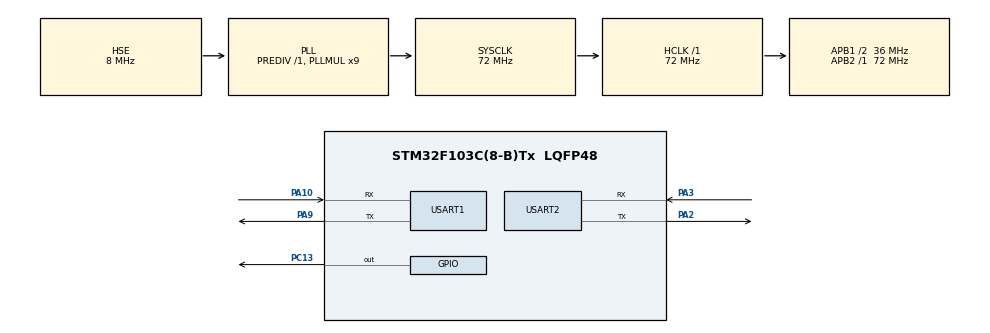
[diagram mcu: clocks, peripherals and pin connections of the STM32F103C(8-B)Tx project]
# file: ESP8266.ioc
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Dma.Request0=USART1_RX
Dma.Request1=USART1_TX
Dma.USART1_RX.0.Direction=DMA_PERIPH_TO_MEMORY
Dma.USART1_RX.0.Instance=DMA1_Channel5
Dma.USART1_RX.0.MemDataAlignment=DMA_MDATAALIGN_BYTE
Dma.USART1_RX.0.MemInc=DMA_MINC_ENABLE
Dma.USART1_RX.0.Mode=DMA_CIRCULAR
Dma.USART1_RX.0.PeriphDataAlignment=DMA_PDATAALIGN_BYTE
Dma.USART1_RX.0.PeriphInc=DMA_PINC_DISABLE
Dma.USART1_RX.0.Priority=DMA_PRIORITY_LOW
Dma.USART1_TX.1.Direction=DMA_MEMORY_TO_PERIPH
Dma.USART1_TX.1.Instance=DMA1_Channel4
Dma.USART1_TX.1.MemDataAlignment=DMA_MDATAALIGN_BYTE
Dma.USART1_TX.1.MemInc=DMA_MINC_ENABLE
Dma.USART1_TX.1.Mode=DMA_NORMAL
Dma.USART1_TX.1.PeriphDataAlignment=DMA_PDATAALIGN_BYTE
Dma.USART1_TX.1.PeriphInc=DMA_PINC_DISABLE
Dma.USART1_TX.1.Priority=DMA_PRIORITY_LOW
Mcu.Family=STM32F1
Mcu.Name=STM32F103C(8-B)Tx
Mcu.Package=LQFP48
NVIC.DMA1_Channel4_IRQn=true\:0\:0\:false\:false\:true\:false\:true\:true
NVIC.DMA1_Channel5_IRQn=true\:0\:0\:false\:false\:true\:false\:true\:true
NVIC.PriorityGroup=NVIC_PRIORITYGROUP_4
NVIC.USART1_IRQn=true\:0\:0\:false\:false\:true\:false\:true\:true
NVIC.USART2_IRQn=true\:0\:0\:false\:false\:true\:true\:true\:true
PA10.Mode=Asynchronous
PA10.Signal=USART1_RX
PA13.Mode=Serial_Wire
PA13.Signal=SYS_JTMS-SWDIO
PA14.Mode=Serial_Wire
PA14.Signal=SYS_JTCK-SWCLK
PA2.Mode=Asynchronous
PA2.Signal=USART2_TX
PA3.Mode=Asynchronous
PA3.Signal=USART2_RX
PA9.Mode=Asynchronous
PA9.Signal=USART1_TX
PC13-TAMPER-RTC.Signal=GPIO_Output
PC14-OSC32_IN.Mode=LSE-External-Oscillator
PC14-OSC32_IN.Signal=RCC_OSC32_IN
PC15-OSC32_OUT.Mode=LSE-External-Oscillator
PC15-OSC32_OUT.Signal=RCC_OSC32_OUT
PD0-OSC_IN.Mode=HSE-External-Oscillator
PD0-OSC_IN.Signal=RCC_OSC_IN
PD1-OSC_OUT.Mode=HSE-External-Oscillator
PD1-OSC_OUT.Signal=RCC_OSC_OUT
ProjectManager.HeapSize=0x200
ProjectManager.StackSize=0x400
ProjectManager.TargetToolchain=MDK-ARM V5.32
RCC.AHBFreq_Value=72000000
RCC.APB1CLKDivider=RCC_HCLK_DIV2
RCC.APB1Freq_Value=36000000
RCC.APB1TimFreq_Value=72000000
RCC.APB2Freq_Value=72000000
RCC.APB2TimFreq_Value=72000000
RCC.HCLKFreq_Value=72000000
RCC.PLLMUL=RCC_PLL_MUL9
RCC.PLLSourceVirtual=RCC_PLLSOURCE_HSE
RCC.SYSCLKFreq_VALUE=72000000
RCC.SYSCLKSource=RCC_SYSCLKSOURCE_PLLCLK
RCC.USBFreq_Value=72000000
USART1.VirtualMode=VM_ASYNC
USART2.VirtualMode=VM_ASYNC
board=custom

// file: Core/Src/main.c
/* USER CODE BEGIN Header */
/**
  ******************************************************************************
  * @file           : main.c
  * @brief          : Main program body
  ******************************************************************************
  * @attention
  *
  * Copyright (c) 2025 STMicroelectronics.
  * All rights reserved.
  *
  * This software is licensed under terms that can be found in the LICENSE file
  * in the root directory of this software component.
  * If no LICENSE file comes with this software, it is provided AS-IS.
  *
  ******************************************************************************
  */
/* USER CODE END Header */
#include "main.h"
#include "dma.h"
#include "usart.h"
#include "gpio.h"

/* USER CODE BEGIN Includes */

#include "string.h"
#define BUFFER_LEN 512

uint8_t tx_buffer[BUFFER_LEN]; // 发送缓冲区
uint8_t rx_buffer[BUFFER_LEN]; // 接收缓冲区
uint32_t head = 0; 							// 头部位置
uint32_t datalen = 0;						 // 传输的数据长度
uint32_t all_datalen = 0;				 // 总的数据长度
uint8_t complete_flag = 0;			 // 结束标志
uint8_t wifi_flag = 0;           //wifi是否连接的标志

/* USER CODE END Includes */

void SystemClock_Config(void);

/* USER CODE BEGIN 0 */

int Str_Jud(char* expect_str){//判断是否返回了预期的字符串
	while(complete_flag == 0){HAL_Delay(100);}
	complete_flag = 0;
	HAL_UART_Transmit(&huart2, tx_buffer, datalen, 100); //发送收到的数据
	__HAL_DMA_ENABLE(huart1.hdmarx);
	if(strstr((char*)tx_buffer, expect_str) != NULL){
		return 1;
	}
	else{
		return 0;
	}
}

void WIFI_Init(){
	HAL_UART_Transmit(&huart1,(uint8_t*)"AT+CWJAP=\"ciallo\",\"0d000721\"\r\n",30,200); // 连接WIFI
	while(!Str_Jud("OK")){HAL_Delay(10);}
}

void DATA_Process(){
	char* ipd_ptr = strstr((char*)tx_buffer, "+IPD");
	if(ipd_ptr != NULL){
		 char* data_start = strchr(ipd_ptr, ':');
		data_start ++;
		if(strstr(data_start, "LED_ON") != NULL){
			HAL_GPIO_WritePin(GPIOC, GPIO_PIN_13, GPIO_PIN_RESET);
		}
		else if(strstr(data_start, "LED_OFF") != NULL){
			HAL_GPIO_WritePin(GPIOC, GPIO_PIN_13, GPIO_PIN_SET);
		}
	}
}

void ESP_Init(){

	HAL_UART_Transmit(&huart1,(uint8_t*)"AT+CWMODE=1\r\n",13,100); // 设置模式
	while(complete_flag == 0){HAL_Delay(100);}
	complete_flag = 0;
	HAL_UART_Transmit(&huart2, tx_buffer, datalen,100); //发送收到的数据
	__HAL_DMA_ENABLE(huart1.hdmarx);
	HAL_UART_Transmit(&huart1,(uint8_t*)"AT+CIPMUX=1\r\n",13,100); // 设置多连接
	while(complete_flag == 0){HAL_Delay(100);}
	complete_flag = 0;
	HAL_UART_Transmit(&huart2, tx_buffer, datalen,100); //发送收到的数据
	__HAL_DMA_ENABLE(huart1.hdmarx);
	WIFI_Init();
	HAL_UART_Transmit(&huart1,(uint8_t*)"AT+CIPSERVER=1,8080\r\n",21,200);
	while(!Str_Jud("OK")){HAL_Delay(10);}
	HAL_UART_Transmit(&huart1,(uint8_t*)"AT+CIFSR\r\n",10,200);
}

/* USER CODE END 0 */

int main(void)
{

  /* MCU Configuration--------------------------------------------------------*/

  /* Reset of all peripherals, Initializes the Flash interface and the Systick. */
  HAL_Init();

  /* Configure the system clock */
  SystemClock_Config();

  /* Initialize all configured peripherals */
  MX_GPIO_Init();
  MX_DMA_Init();
  MX_USART1_UART_Init();
  MX_USART2_UART_Init();
  /* USER CODE BEGIN 2 */

	HAL_UART_Receive_DMA(&huart1, rx_buffer, sizeof(rx_buffer));//启动DMA接收数据
	__HAL_UART_ENABLE_IT(&huart1, UART_IT_IDLE);//开启空闲中断
	HAL_Delay(5000); // 等待ESP初始化
	ESP_Init(); // 进行初始化配置

  /* USER CODE END 2 */

  /* Infinite loop */
  /* USER CODE BEGIN WHILE */
  while (1)
  {
		if(complete_flag){
			DATA_Process();
			complete_flag = 0; //清除完成标志
			HAL_UART_Transmit(&huart2, tx_buffer, datalen,100); //发送收到的数据
		}
    /* USER CODE END WHILE */

  }
}

void SystemClock_Config(void)
{
  RCC_OscInitTypeDef RCC_OscInitStruct = {0};
  RCC_ClkInitTypeDef RCC_ClkInitStruct = {0};

  /** Initializes the RCC Oscillators according to the specified parameters
  * in the RCC_OscInitTypeDef structure.
  */
  RCC_OscInitStruct.OscillatorType = RCC_OSCILLATORTYPE_HSE;
  RCC_OscInitStruct.HSEState = RCC_HSE_ON;
  RCC_OscInitStruct.HSEPredivValue = RCC_HSE_PREDIV_DIV1;
  RCC_OscInitStruct.HSIState = RCC_HSI_ON;
  RCC_OscInitStruct.PLL.PLLState = RCC_PLL_ON;
  RCC_OscInitStruct.PLL.PLLSource = RCC_PLLSOURCE_HSE;
  RCC_OscInitStruct.PLL.PLLMUL = RCC_PLL_MUL9;
  if (HAL_RCC_OscConfig(&RCC_OscInitStruct) != HAL_OK)
  {
    Error_Handler();
  }

  /** Initializes the CPU, AHB and APB buses clocks
  */
  RCC_ClkInitStruct.ClockType = RCC_CLOCKTYPE_HCLK|RCC_CLOCKTYPE_SYSCLK
                              |RCC_CLOCKTYPE_PCLK1|RCC_CLOCKTYPE_PCLK2;
  RCC_ClkInitStruct.SYSCLKSource = RCC_SYSCLKSOURCE_PLLCLK;
  RCC_ClkInitStruct.AHBCLKDivider = RCC_SYSCLK_DIV1;
  RCC_ClkInitStruct.APB1CLKDivider = RCC_HCLK_DIV2;
  RCC_ClkInitStruct.APB2CLKDivider = RCC_HCLK_DIV1;

  if (HAL_RCC_ClockConfig(&RCC_ClkInitStruct, FLASH_LATENCY_2) != HAL_OK)
  {
    Error_Handler();
  }
}

void Error_Handler(void)
{
  __disable_irq();
  while (1)
  {
  }
}
